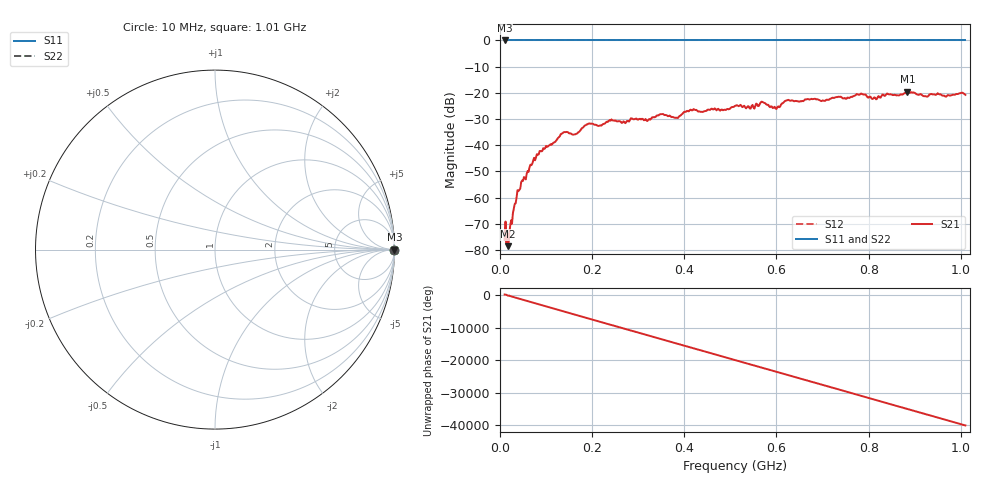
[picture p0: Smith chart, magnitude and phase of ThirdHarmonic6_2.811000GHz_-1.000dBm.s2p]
! 8/17/2025 7:23:06 AM
! C:\ANRITSUVNA\TEMP\TEMP.S2P
! CHANNEL.1
! TR.MEASUREMENT
! RAW.DATA
! RF.CORRECTION.OFF
! AVERAGING.OFF
! IF.BANDWIDTH: 5KHZ
! SWEEPTYPE:  FREQ.SWEEP(Linear)
! Reference Plane Port Info
! PORT:  PORT1  PORT2
! DISTANCE:  0  m  0  m
! TIME:  0  s  0  s
! PHASE.OFFSET:  0  deg.  0  deg.
! LOSS:  0  dB  0  dB
! REF.LOSS:  0  dB  0  dB
! REF.FREQ:  0  Hz  0  Hz
! Power Info
! POWER:  -20  dBm  -20  dBm
! EFF.POWER:  -20  dBm  -20  dBm
! SOURCE.ATTEN:  0  dB  0  dB
! TEST.ATTEN:  0  dB  0  dB
# GHZ S RI R 50.0
! FREQ.GHZ  S11RE  S11IM  S21RE  S21IM  S12RE  S12IM  S22RE  S22IM
!; PortSelection: Port_12
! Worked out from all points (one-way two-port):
!   501 points, 10 MHz to 1.01 GHz, reference 50 ohm
!   highest |S21| = -19.59 dB at 884 MHz (marker M1); lowest = -78.5 dB at 18 MHz (marker M2)
!   lowest |S11| = 0.0 dB at 10 MHz (marker M3)
!   |S11| at or under -10 dB: nowhere
!   |S22| runs from 0.0 to 0.0 dB; largest |S21 - S12| = 1.1
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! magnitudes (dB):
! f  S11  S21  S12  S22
! 10 MHz  0.0  -76.1  0.0  0.0
! 18 MHz  0.0  -78.5  0.0  0.0
! 34 MHz  0.0  -62.2  0.0  0.0
! 42 MHz  0.0  -57.0  0.0  0.0
! 76 MHz  0.0  -45.8  0.0  0.0
! 136 MHz  0.0  -35.4  0.0  0.0
! 162 MHz  0.0  -35.9  0.0  0.0
! 178 MHz  0.0  -33.4  0.0  0.0
! 344 MHz  0.0  -28.6  0.0  0.0
! 382 MHz  0.0  -29.5  0.0  0.0
! 416 MHz  0.0  -26.7  0.0  0.0
! 510 MHz  0.0  -25.0  0.0  0.0
! 548 MHz  0.0  -24.6  0.0  0.0
! 570 MHz  0.0  -23.5  0.0  0.0
! 596 MHz  0.0  -25.3  0.0  0.0
! 622 MHz  0.0  -22.9  0.0  0.0
! 678 MHz  0.0  -22.4  0.0  0.0
! 786 MHz  0.0  -20.4  0.0  0.0
! 814 MHz  0.0  -21.8  0.0  0.0
! 844 MHz  0.0  -20.6  0.0  0.0
! 884 MHz  0.0  -19.6  0.0  0.0
! 1.01 GHz  0.0  -20.8  0.0  0.0
